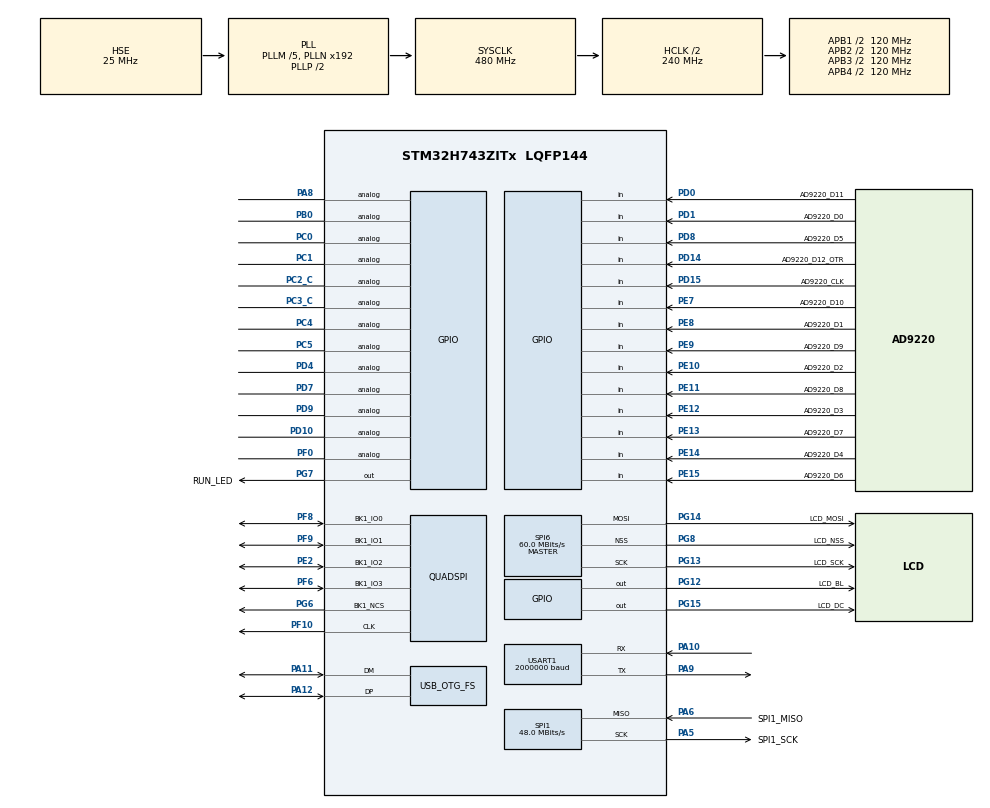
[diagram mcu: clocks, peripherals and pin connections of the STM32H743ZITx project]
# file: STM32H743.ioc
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CORTEX_M7.default_mode_Activation=1
Mcu.Family=STM32H7
Mcu.Name=STM32H743ZITx
Mcu.Package=LQFP144
NVIC.OTG_FS_IRQn=true\:8\:0\:false\:false\:true\:false\:true\:true
NVIC.PriorityGroup=NVIC_PRIORITYGROUP_4
NVIC.TIM6_DAC_IRQn=true\:15\:0\:false\:false\:true\:false\:false\:true
NVIC.TimeBase=TIM6_DAC_IRQn
NVIC.TimeBaseIP=TIM6
PA10.GPIO_Speed=GPIO_SPEED_FREQ_VERY_HIGH
PA10.Mode=Asynchronous
PA10.Signal=USART1_RX
PA11.Mode=Device_Only
PA11.Signal=USB_OTG_FS_DM
PA12.Mode=Device_Only
PA12.Signal=USB_OTG_FS_DP
PA13\ (JTMS/SWDIO).Mode=Serial_Wire
PA13\ (JTMS/SWDIO).Signal=DEBUG_JTMS-SWDIO
PA14\ (JTCK/SWCLK).Mode=Serial_Wire
PA14\ (JTCK/SWCLK).Signal=DEBUG_JTCK-SWCLK
PA5.GPIO_Label=SPI1_SCK
PA5.GPIO_Speed=GPIO_SPEED_FREQ_VERY_HIGH
PA5.Mode=RX_Only_Simplex_Unidirect_Master
PA5.Signal=SPI1_SCK
PA6.GPIO_Label=SPI1_MISO
PA6.GPIO_Speed=GPIO_SPEED_FREQ_VERY_HIGH
PA6.Mode=RX_Only_Simplex_Unidirect_Master
PA6.Signal=SPI1_MISO
PA8.Signal=GPIO_Analog
PA9.GPIO_Speed=GPIO_SPEED_FREQ_VERY_HIGH
PA9.Mode=Asynchronous
PA9.Signal=USART1_TX
PB0.Signal=GPIO_Analog
PC0.Signal=GPIO_Analog
PC1.Signal=GPIO_Analog
PC14-OSC32_IN\ (OSC32_IN).Mode=LSE-External-Oscillator
PC14-OSC32_IN\ (OSC32_IN).Signal=RCC_OSC32_IN
PC15-OSC32_OUT\ (OSC32_OUT).Mode=LSE-External-Oscillator
PC15-OSC32_OUT\ (OSC32_OUT).Signal=RCC_OSC32_OUT
PC2_C.Signal=GPIO_Analog
PC3_C.Signal=GPIO_Analog
PC4.Signal=GPIO_Analog
PC5.Signal=GPIO_Analog
PD0.GPIO_Label=AD9220_D11
PD0.Signal=GPIO_Input
PD1.GPIO_Label=AD9220_D0
PD1.Signal=GPIO_Input
PD10.Signal=GPIO_Analog
PD14.GPIO_Label=AD9220_D12_OTR
PD14.Signal=GPIO_Input
PD15.GPIO_Label=AD9220_CLK
PD15.GPIO_Speed=GPIO_SPEED_FREQ_VERY_HIGH
PD15.Signal=GPIO_Input
PD4.Signal=GPIO_Analog
PD7.Signal=GPIO_Analog
PD8.GPIO_Label=AD9220_D5
PD8.Signal=GPIO_Input
PD9.Signal=GPIO_Analog
PE10.GPIO_Label=AD9220_D2
PE10.Signal=GPIO_Input
PE11.GPIO_Label=AD9220_D8
PE11.Signal=GPIO_Input
PE12.GPIO_Label=AD9220_D3
PE12.Signal=GPIO_Input
PE13.GPIO_Label=AD9220_D7
PE13.Signal=GPIO_Input
PE14.GPIO_Label=AD9220_D4
PE14.Signal=GPIO_Input
PE15.GPIO_Label=AD9220_D6
PE15.Signal=GPIO_Input
PE2.Mode=Single Bank 1
PE2.Signal=QUADSPI_BK1_IO2
PE7.GPIO_Label=AD9220_D10
PE7.Signal=GPIO_Input
PE8.GPIO_Label=AD9220_D1
PE8.Signal=GPIO_Input
PE9.GPIO_Label=AD9220_D9
PE9.Signal=GPIO_Input
PF0.Signal=GPIO_Analog
PF10.Mode=Single Bank 1
PF10.Signal=QUADSPI_CLK
PF6.Mode=Single Bank 1
PF6.Signal=QUADSPI_BK1_IO3
PF8.Mode=Single Bank 1
PF8.Signal=QUADSPI_BK1_IO0
PF9.Mode=Single Bank 1
PF9.Signal=QUADSPI_BK1_IO1
PG12.GPIO_Label=LCD_BL
PG12.Signal=GPIO_Output
PG13.GPIO_Label=LCD_SCK
PG13.GPIO_Speed=GPIO_SPEED_FREQ_VERY_HIGH
PG13.Mode=TX_Only_Simplex_Unidirect_Master
PG13.Signal=SPI6_SCK
PG14.GPIO_Label=LCD_MOSI
PG14.GPIO_Speed=GPIO_SPEED_FREQ_VERY_HIGH
PG14.Mode=TX_Only_Simplex_Unidirect_Master
PG14.Signal=SPI6_MOSI
PG15.GPIO_Label=LCD_DC
PG15.Signal=GPIO_Output
PG6.Mode=Single Bank 1
PG6.Signal=QUADSPI_BK1_NCS
PG7.GPIO_Label=RUN_LED
PG7.Signal=GPIO_Output
PG8.GPIO_Label=LCD_NSS
PG8.GPIO_Speed=GPIO_SPEED_FREQ_VERY_HIGH
PG8.Mode=NSS_Signal_Hard_Output
PG8.Signal=SPI6_NSS
PH0-OSC_IN\ (PH0).Mode=HSE-External-Oscillator
PH0-OSC_IN\ (PH0).Signal=RCC_OSC_IN
PH1-OSC_OUT\ (PH1).Mode=HSE-External-Oscillator
PH1-OSC_OUT\ (PH1).Signal=RCC_OSC_OUT
ProjectManager.HeapSize=0x200
ProjectManager.StackSize=0x400
ProjectManager.TargetToolchain=Makefile
QUADSPI.ClockMode=QSPI_CLOCK_MODE_3
QUADSPI.ClockPrescaler=2
QUADSPI.FifoThreshold=32
QUADSPI.FlashSize=22
QUADSPI.SampleShifting=QSPI_SAMPLE_SHIFTING_HALFCYCLE
RCC.ADCFreq_Value=50390625
RCC.APB1Freq_Value=120000000
RCC.APB2Freq_Value=120000000
RCC.APB3Freq_Value=120000000
RCC.APB4Freq_Value=120000000
RCC.CortexFreq_Value=480000000
RCC.D1PPRE=RCC_APB3_DIV2
RCC.D2PPRE1=RCC_APB1_DIV2
RCC.D2PPRE2=RCC_APB2_DIV2
RCC.D3PPRE=RCC_APB4_DIV2
RCC.DIVM1=5
RCC.DIVM3=25
RCC.DIVN1=192
RCC.DIVN3=336
RCC.DIVQ1=5
RCC.DIVQ3=7
RCC.HCLKFreq_Value=240000000
RCC.HPRE=RCC_HCLK_DIV2
RCC.PLLFRACN=0
RCC.PLLSourceVirtual=RCC_PLLSOURCE_HSE
RCC.SYSCLKFreq_VALUE=480000000
RCC.SYSCLKSource=RCC_SYSCLKSOURCE_PLLCLK
RCC.USBCLockSelection=RCC_USBCLKSOURCE_PLL3
RCC.USBFreq_Value=48000000
SPI1.BaudRatePrescaler=SPI_BAUDRATEPRESCALER_4
SPI1.CalculateBaudRate=48.0 MBits/s
SPI1.Direction=SPI_DIRECTION_2LINES_RXONLY
SPI1.Mode=SPI_MODE_MASTER
SPI1.VirtualType=VM_MASTER
SPI6.CalculateBaudRate=60.0 MBits/s
SPI6.DataSize=SPI_DATASIZE_8BIT
SPI6.Direction=SPI_DIRECTION_2LINES_TXONLY
SPI6.Mode=SPI_MODE_MASTER
SPI6.VirtualNSS=VM_NSSHARD
SPI6.VirtualType=VM_MASTER
TIM4.Channel-Input_Capture4_from_TI4=TIM_CHANNEL_4
TIM4.ICPolarity-Input_Capture4_from_TI4=TIM_INPUTCHANNELPOLARITY_RISING
TIM4.ICPrescaler-Input_Capture4_from_TI4=TIM_ICPSC_DIV1
TIM4.Period=65535
TIM4.Prescaler=0
USART1.BaudRate=2000000
USART1.VirtualMode-Asynchronous=VM_ASYNC
USB_DEVICE.CLASS_NAME_FS=CDC
USB_DEVICE.VirtualMode-CDC_FS=Cdc
USB_DEVICE.VirtualModeFS=Cdc_FS
USB_OTG_FS.VirtualMode=Device_Only
VP_MEMORYMAP_VS_MEMORYMAP.Mode=CurAppReg
VP_SYS_VS_tim6.Mode=TIM6
VP_TIM4_VS_ClockSourceINT.Mode=Internal
VP_USB_DEVICE_VS_USB_DEVICE_CDC_FS.Mode=CDC_FS
board=custom

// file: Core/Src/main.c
/* USER CODE BEGIN Header */
/**
  ******************************************************************************
  * @file           : main.c
  * @brief          : Main program body
  ******************************************************************************
  * @attention
  *
  * Copyright (c) 2026 STMicroelectronics.
  * All rights reserved.
  *
  * This software is licensed under terms that can be found in the LICENSE file
  * in the root directory of this software component.
  * If no LICENSE file comes with this software, it is provided AS-IS.
  *
  ******************************************************************************
  */
/* USER CODE END Header */
#include "main.h"
#include "quadspi.h"
#include "spi.h"
#include "tim.h"
#include "usart.h"
#include "usb_device.h"
#include "gpio.h"

/* USER CODE BEGIN Includes */
#include "app_usb_device.h"
#include "scope_app.h"
/* USER CODE END Includes */

/* USER CODE BEGIN PD */
#define RUN_LED_TOGGLE_PERIOD_MS 500U
/* USER CODE END PD */

void SystemClock_Config(void);
static void MPU_Config(void);
/* USER CODE BEGIN PFP */
static void RunLed_Process(void);
/* USER CODE END PFP */

/* USER CODE BEGIN 0 */
#include <stdio.h>

static void RunLed_Process(void)
{
  static uint32_t last_toggle_tick;
  uint32_t now = HAL_GetTick();

  if ((uint32_t)(now - last_toggle_tick) >= RUN_LED_TOGGLE_PERIOD_MS)
  {
    last_toggle_tick = now;
    HAL_GPIO_TogglePin(RUN_LED_GPIO_Port, RUN_LED_Pin);
  }
}

/**
  * @brief  重定向 printf 输出到 USART1 (PA9/TX)
  * @param  ch: 要发送的字符
  * @retval 发送的字符
  */
int __io_putchar(int ch)
{
#if SCOPE_APP_UART_ENABLED == 0U
  (void)ch;
  return EOF;
#else
  uint32_t timeout;

  /* 将换行符 \n 转换为 \r\n 以兼容串口终端 */
  if (ch == '\n')
  {
    timeout = 1000000U;
    while (((USART1->ISR & USART_ISR_TXE_TXFNF) == 0U) &&
           (timeout != 0U))
    {
      --timeout;
    }
    if (timeout == 0U)
    {
      return EOF;
    }
    USART1->TDR = '\r';
  }
  timeout = 1000000U;
  while (((USART1->ISR & USART_ISR_TXE_TXFNF) == 0U) &&
         (timeout != 0U))
  {
    --timeout;
  }
  if (timeout == 0U)
  {
    return EOF;
  }
  USART1->TDR = ch;
  return ch;
#endif
}

/**
  * @brief  重定向 scanf 输入到 USART1 (PA10/RX)
  * @retval 接收到的字符
  */
int __io_getchar(void)
{
#if SCOPE_APP_UART_ENABLED == 0U
  return EOF;
#else
  uint32_t timeout = 1000000U;

  while (((USART1->ISR & USART_ISR_RXNE_RXFNE) == 0U) &&
         (timeout != 0U))
  {
    --timeout;
  }
  if (timeout == 0U)
  {
    return EOF;
  }
  return (int)(USART1->RDR & 0xFF);
#endif
}

/* USER CODE END 0 */

int main(void)
{

  /* MPU Configuration--------------------------------------------------------*/
  MPU_Config();

  /* USER CODE BEGIN Cache */
  /*
   * The analysis path performs a 16384-point FFT from AXI SRAM. The AD9220
   * driver explicitly invalidates its aligned D2 DMA buffers before CPU
   * access, so both instruction and data caches can remain enabled.
   */
  SCB_EnableICache();
  SCB_EnableDCache();
  /* USER CODE END Cache */

  /* MCU Configuration--------------------------------------------------------*/

  /* Reset of all peripherals, Initializes the Flash interface and the Systick. */
  HAL_Init();

  /* Configure the system clock */
  SystemClock_Config();

  /* USER CODE BEGIN SysInit */
  /*
   * Initialize the application-level USB queues before the Cube USB device
   * stack can deliver an RX callback.  This prevents an early host packet
   * from observing uninitialized ring-buffer indices.
   */
  APP_USB_DeviceInit();
  /* USER CODE END SysInit */

  /* Initialize all configured peripherals */
  MX_GPIO_Init();
  MX_TIM4_Init();
  MX_QUADSPI_Init();
  MX_SPI1_Init();
  MX_SPI6_Init();
#if SCOPE_APP_UART_ENABLED != 0U
  MX_USART1_UART_Init();
#endif
  MX_USB_DEVICE_Init();
  /* USER CODE BEGIN 2 */
#if SCOPE_APP_UART_ENABLED != 0U
  {
    static const uint8_t boot_message[] = "#BOOT UART OK\r\n";
    (void)HAL_UART_Transmit(&huart1, boot_message,
                            (uint16_t)(sizeof(boot_message) - 1U),
                             100U);
  }
#endif
  ScopeApp_Init();
  /* USER CODE END 2 */

  /* Infinite loop */
  while (1)
  {

    /* USER CODE BEGIN 3 */
    /*
     * The firmware is deliberately bare metal: DMA interrupts only mark a
     * capture complete; all FFT and least-squares work runs here.  USB is
     * serviced both before and after signal processing so a 63-byte result
     * or control reply is not delayed by the next analysis block.
     */
    RunLed_Process();             /* 500 ms heartbeat; does not time sampling. */
    APP_USB_DeviceProcess();      /* Drain host commands / finish pending TX. */
    ScopeApp_Process();           /* Capture, repair, analyze and publish. */
    APP_USB_DeviceProcess();      /* Start sending the result just published. */
  }
  /* USER CODE END 3 */
}

void SystemClock_Config(void)
{
  RCC_OscInitTypeDef RCC_OscInitStruct = {0};
  RCC_ClkInitTypeDef RCC_ClkInitStruct = {0};

  /** Supply configuration update enable
  */
  HAL_PWREx_ConfigSupply(PWR_LDO_SUPPLY);

  /** Configure the main internal regulator output voltage
  */
  __HAL_PWR_VOLTAGESCALING_CONFIG(PWR_REGULATOR_VOLTAGE_SCALE0);

  while(!__HAL_PWR_GET_FLAG(PWR_FLAG_VOSRDY)) {}

  /** Initializes the RCC Oscillators according to the specified parameters
  * in the RCC_OscInitTypeDef structure.
  */
  RCC_OscInitStruct.OscillatorType = RCC_OSCILLATORTYPE_HSE;
  RCC_OscInitStruct.HSEState = RCC_HSE_ON;
  RCC_OscInitStruct.PLL.PLLState = RCC_PLL_ON;
  RCC_OscInitStruct.PLL.PLLSource = RCC_PLLSOURCE_HSE;
  RCC_OscInitStruct.PLL.PLLM = 5;
  RCC_OscInitStruct.PLL.PLLN = 192;
  RCC_OscInitStruct.PLL.PLLP = 2;
  RCC_OscInitStruct.PLL.PLLQ = 5;
  RCC_OscInitStruct.PLL.PLLR = 2;
  RCC_OscInitStruct.PLL.PLLRGE = RCC_PLL1VCIRANGE_2;
  RCC_OscInitStruct.PLL.PLLVCOSEL = RCC_PLL1VCOWIDE;
  RCC_OscInitStruct.PLL.PLLFRACN = 0;
  if (HAL_RCC_OscConfig(&RCC_OscInitStruct) != HAL_OK)
  {
    Error_Handler();
  }

  /** Initializes the CPU, AHB and APB buses clocks
  */
  RCC_ClkInitStruct.ClockType = RCC_CLOCKTYPE_HCLK|RCC_CLOCKTYPE_SYSCLK
                              |RCC_CLOCKTYPE_PCLK1|RCC_CLOCKTYPE_PCLK2
                              |RCC_CLOCKTYPE_D3PCLK1|RCC_CLOCKTYPE_D1PCLK1;
  RCC_ClkInitStruct.SYSCLKSource = RCC_SYSCLKSOURCE_PLLCLK;
  RCC_ClkInitStruct.SYSCLKDivider = RCC_SYSCLK_DIV1;
  RCC_ClkInitStruct.AHBCLKDivider = RCC_HCLK_DIV2;
  RCC_ClkInitStruct.APB3CLKDivider = RCC_APB3_DIV2;
  RCC_ClkInitStruct.APB1CLKDivider = RCC_APB1_DIV2;
  RCC_ClkInitStruct.APB2CLKDivider = RCC_APB2_DIV2;
  RCC_ClkInitStruct.APB4CLKDivider = RCC_APB4_DIV2;

  if (HAL_RCC_ClockConfig(&RCC_ClkInitStruct, FLASH_LATENCY_4) != HAL_OK)
  {
    Error_Handler();
  }
}

 /* MPU Configuration */

void MPU_Config(void)
{
  MPU_Region_InitTypeDef MPU_InitStruct = {0};

  /* Disables the MPU */
  HAL_MPU_Disable();

  /** Initializes and configures the Region and the memory to be protected
  */
  MPU_InitStruct.Enable = MPU_REGION_ENABLE;
  MPU_InitStruct.Number = MPU_REGION_NUMBER0;
  MPU_InitStruct.BaseAddress = 0x0;
  MPU_InitStruct.Size = MPU_REGION_SIZE_4GB;
  MPU_InitStruct.SubRegionDisable = 0x87;
  MPU_InitStruct.TypeExtField = MPU_TEX_LEVEL0;
  MPU_InitStruct.AccessPermission = MPU_REGION_NO_ACCESS;
  MPU_InitStruct.DisableExec = MPU_INSTRUCTION_ACCESS_DISABLE;
  MPU_InitStruct.IsShareable = MPU_ACCESS_SHAREABLE;
  MPU_InitStruct.IsCacheable = MPU_ACCESS_NOT_CACHEABLE;
  MPU_InitStruct.IsBufferable = MPU_ACCESS_NOT_BUFFERABLE;

  HAL_MPU_ConfigRegion(&MPU_InitStruct);
  /* Enables the MPU */
  HAL_MPU_Enable(MPU_PRIVILEGED_DEFAULT);

}

void HAL_TIM_PeriodElapsedCallback(TIM_HandleTypeDef *htim)
{
  if (htim->Instance == TIM6)
  {
    HAL_IncTick();
  }
}

void Error_Handler(void)
{
  /* USER CODE BEGIN Error_Handler_Debug */
  __disable_irq();
  NVIC_SystemReset();
  /* USER CODE END Error_Handler_Debug */
}
